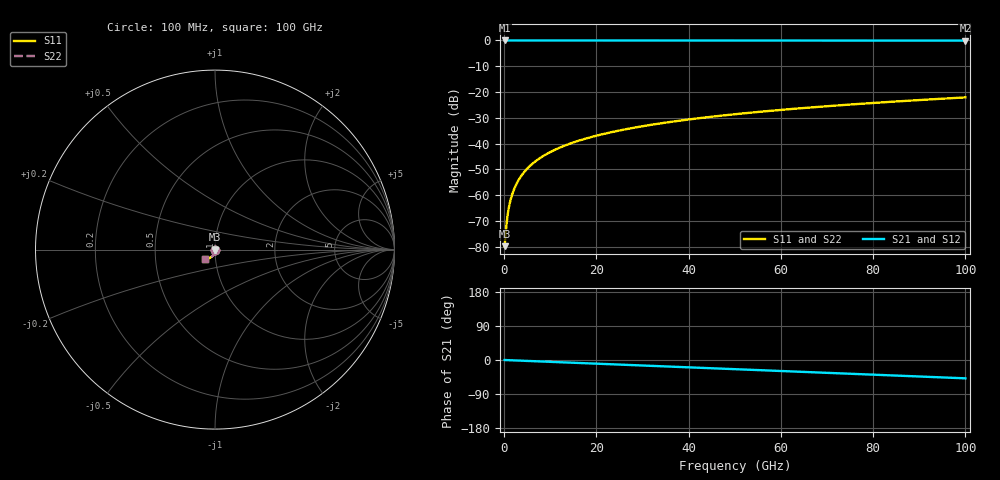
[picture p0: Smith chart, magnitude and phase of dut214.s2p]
! Touchstone file exported from HFSS 2026.1.0
!  File:  C:/ffzhzh/LocalFiles/Ansys_Project_Files/temp_train_TSV_214_1783507701_44152.aedt
!  Generated:  06:49:34 PM Jul  8, 2026
!  Design:  TSV
!  Project:  temp_train_TSV_214_1783507701_44152
! Variables:
!  h_bsmrdl = 2um
!  h_ox = 20um
!  h_rdl = 5um
!  h_sub = 98.94um
!  h_tmrdl = 5um
!  h_tsv = 98.94um
!  h_via = 3um
!  l_bsmrdl = 300um
!  l_sub = 426.22um
!  l_tmrdl = 200um
!  m_sub = 200um
!  pitch = 48.56um
!  r_tsv = 13.11um
!  s_tmrdl = 10um
!  w_bsmrdl = 18um
!  w_sub = 500um
!  w_tmrdl = 12um
!  x_tsv_center1 = 206um
!  x_tsv_center2 = 524um
!  x_tsv_center3 = 736um
!  x_tsv_center4 = 1054um
!  x_tsv_center5 = 1266um
!  x_tsv_center6 = 1584um
# GHz S MA R 50.000000
! Terminal data exported
! Port[1] = TSV1_1_T1
! Port[2] = TSV1_1_T2
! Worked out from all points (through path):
!   1000 points, 100 MHz to 100 GHz, reference 50 ohm
!   highest |S21| = 0.00 dB at 100 MHz (marker M1); lowest = -0.1 dB at 100 GHz (marker M2)
!   group delay of S21, straight-line fit = 1.34 ps
!   lowest |S11| = -79.8 dB at 100 MHz (marker M3), VSWR 1.00, Z = 50 - j0.00206 ohm
!   |S11| at or under -10 dB: start of sweep to end of sweep
!   |S22| runs from -79.8 to -22.1 dB; largest |S21 - S12| = 5.8e-15
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0.1  0.0001027 -11.6  0.9999 -0.1  0.9999 -0.1  0.0001027 -11.6
! Gamma 0 0 0 0
! Port Impedance 50 0 50 0
0.4  0.0002118 -37.0  0.9998 -0.2  0.9998 -0.2  0.0002118 -37.0
0.8  0.0004406 -54.6  0.9997 -0.4  0.9997 -0.4  0.0004405 -54.6
1  0.000564 -59.7  0.9997 -0.5  0.9997 -0.5  0.0005639 -59.7
1.3  0.0007527 -64.9  0.9997 -0.6  0.9997 -0.6  0.0007527 -64.9
1.6  0.0009445 -68.4  0.9996 -0.8  0.9996 -0.8  0.0009445 -68.4
2.1  0.001271 -72.2  0.9996 -1.0  0.9996 -1.0  0.001271 -72.3
2.6  0.001604 -74.8  0.9995 -1.3  0.9995 -1.3  0.001604 -74.8
3.3  0.002082 -77.3  0.9995 -1.6  0.9995 -1.6  0.002082 -77.3
4.1  0.002638 -79.3  0.9994 -2.0  0.9994 -2.0  0.002638 -79.4
5.1  0.003343 -81.4  0.9993 -2.5  0.9993 -2.5  0.003343 -81.4
6.2  0.004125 -83.1  0.9993 -3.0  0.9993 -3.0  0.004125 -83.1
9  0.006137 -86.3  0.9991 -4.4  0.9991 -4.4  0.006137 -86.4
12.5  0.008692 -89.3  0.9989 -6.1  0.9989 -6.1  0.008691 -89.3
16.8  0.01186 -92.4  0.9987 -8.1  0.9987 -8.1  0.01186 -92.4
24.1  0.01729 -96.9  0.9984 -11.6  0.9984 -11.6  0.01729 -97.0
33.4  0.02432 -102.2  0.998 -16.1  0.998 -16.1  0.02432 -102.3
41.2  0.03029 -106.4  0.9976 -19.9  0.9976 -19.9  0.03029 -106.5
50.1  0.03721 -111.1  0.9972 -24.2  0.9972 -24.2  0.0372 -111.2
66.7  0.05043 -119.6  0.9962 -32.2  0.9962 -32.2  0.05043 -119.8
83.4  0.06428 -128.2  0.995 -40.3  0.995 -40.3  0.06428 -128.3
100  0.07872 -136.7  0.9934 -48.4  0.9934 -48.4  0.07871 -136.8
